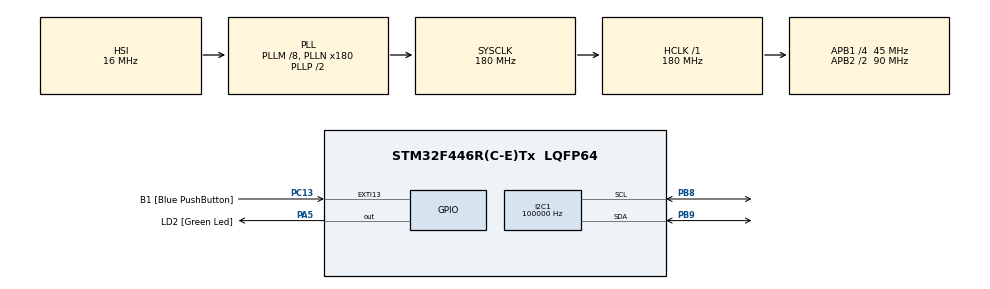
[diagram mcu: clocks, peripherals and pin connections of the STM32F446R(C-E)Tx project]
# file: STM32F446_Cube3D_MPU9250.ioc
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I2C1.ClockSpeed=100000
Mcu.Family=STM32F4
Mcu.Name=STM32F446R(C-E)Tx
Mcu.Package=LQFP64
NVIC.PriorityGroup=NVIC_PRIORITYGROUP_0
PA13.GPIO_Label=TMS
PA13.Mode=Serial_Wire
PA13.Signal=SYS_JTMS-SWDIO
PA14.GPIO_Label=TCK
PA14.Mode=Serial_Wire
PA14.Signal=SYS_JTCK-SWCLK
PA2.GPIO_Label=USART_TX
PA2.Signal=USART2_TX
PA3.GPIO_Label=USART_RX
PA3.Signal=USART2_RX
PA5.GPIO_Label=LD2 [Green Led]
PA5.Signal=GPIO_Output
PB3.GPIO_Label=SWO
PB3.Signal=SYS_JTDO-SWO
PB8.Mode=I2C
PB8.Signal=I2C1_SCL
PB9.Mode=I2C
PB9.Signal=I2C1_SDA
PC13.GPIO_Label=B1 [Blue PushButton]
PC13.GPIO_ModeDefaultEXTI=GPIO_MODE_EVT_RISING
PC13.Signal=GPXTI13
PC14-OSC32_IN.Signal=RCC_OSC32_IN
PC15-OSC32_OUT.Signal=RCC_OSC32_OUT
PH0-OSC_IN.Signal=RCC_OSC_IN
PH1-OSC_OUT.Signal=RCC_OSC_OUT
ProjectManager.HeapSize=0x200
ProjectManager.StackSize=0x400
ProjectManager.TargetToolchain=SW4STM32
RCC.AHBFreq_Value=180000000
RCC.APB1CLKDivider=RCC_HCLK_DIV4
RCC.APB1Freq_Value=45000000
RCC.APB1TimFreq_Value=90000000
RCC.APB2CLKDivider=RCC_HCLK_DIV2
RCC.APB2Freq_Value=90000000
RCC.APB2TimFreq_Value=180000000
RCC.CortexFreq_Value=180000000
RCC.FLatency-AdvancedSettings=FLASH_LATENCY_5
RCC.HCLKFreq_Value=180000000
RCC.HSE_VALUE=8000000
RCC.HSI_VALUE=16000000
RCC.LSE_VALUE=32768
RCC.PLLM=8
RCC.PLLN=180
RCC.SYSCLKFreq_VALUE=180000000
RCC.SYSCLKSource=RCC_SYSCLKSOURCE_PLLCLK
RCC.USBFreq_Value=180000000
RCC.VCOOutputFreq_Value=360000000
board=NUCLEO-F446RE

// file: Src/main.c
/**
  ******************************************************************************
  * File Name          : main.c
  * Description        : Main program body
  ******************************************************************************
  *
  * COPYRIGHT(c) 2016 STMicroelectronics
  *
  * Redistribution and use in source and binary forms, with or without modification,
  * are permitted provided that the following conditions are met:
  *   1. Redistributions of source code must retain the above copyright notice,
  *      this list of conditions and the following disclaimer.
  *   2. Redistributions in binary form must reproduce the above copyright notice,
  *      this list of conditions and the following disclaimer in the documentation
  *      and/or other materials provided with the distribution.
  *   3. Neither the name of STMicroelectronics nor the names of its contributors
  *      may be used to endorse or promote products derived from this software
  *      without specific prior written permission.
  *
  * THIS SOFTWARE IS PROVIDED BY THE COPYRIGHT HOLDERS AND CONTRIBUTORS "AS IS"
  * AND ANY EXPRESS OR IMPLIED WARRANTIES, INCLUDING, BUT NOT LIMITED TO, THE
  * IMPLIED WARRANTIES OF MERCHANTABILITY AND FITNESS FOR A PARTICULAR PURPOSE ARE
  * DISCLAIMED. IN NO EVENT SHALL THE COPYRIGHT HOLDER OR CONTRIBUTORS BE LIABLE
  * FOR ANY DIRECT, INDIRECT, INCIDENTAL, SPECIAL, EXEMPLARY, OR CONSEQUENTIAL
  * DAMAGES (INCLUDING, BUT NOT LIMITED TO, PROCUREMENT OF SUBSTITUTE GOODS OR
  * SERVICES; LOSS OF USE, DATA, OR PROFITS; OR BUSINESS INTERRUPTION) HOWEVER
  * CAUSED AND ON ANY THEORY OF LIABILITY, WHETHER IN CONTRACT, STRICT LIABILITY,
  * OR TORT (INCLUDING NEGLIGENCE OR OTHERWISE) ARISING IN ANY WAY OUT OF THE USE
  * OF THIS SOFTWARE, EVEN IF ADVISED OF THE POSSIBILITY OF SUCH DAMAGE.
  *
  ******************************************************************************
  */
#include "stm32f4xx_hal.h"
#include "i2c.h"
#include "gpio.h"

/* USER CODE BEGIN Includes */
#include "display\lcd.h"
#include "MPU9250.h"
#include "3driver.h"
#include "math.h"
#include "MadgwickAHRS.h"

/* USER CODE END Includes */

/* USER CODE BEGIN PV */
/* Private variables ---------------------------------------------------------*/

#define CUBE_WIDTH  140
#define CUBE_DEPTH  100
#define CUBE_HEIGTH 40

/* USER CODE END PV */

void SystemClock_Config(void);
void Error_Handler(void);

/* USER CODE BEGIN PFP */
/* Private function prototypes -----------------------------------------------*/

/* USER CODE END PFP */

int main(void)
{

  /* USER CODE BEGIN 1 */

	float ax, ay, az;
	float gx, gy, gz;
	float mx, my, mz;

	uint32_t last_time, current_time;

  /* USER CODE END 1 */

  /* MCU Configuration----------------------------------------------------------*/

  /* Reset of all peripherals, Initializes the Flash interface and the Systick. */
  HAL_Init();

  /* Configure the system clock */
  SystemClock_Config();

  /* Initialize all configured peripherals */
  MX_GPIO_Init();
  MX_I2C1_Init();

  /* USER CODE BEGIN 2 */
  LCD_Init();
  LCD_FillScreen(BLACK);
  LCD_SetTextSize(1);
  LCD_SetTextColor(GREEN, BLACK);

  I2Cdev_init(&hi2c1);

  Object3d__HandleTypeDef box;
  Object3d_InitBox(&box, CUBE_WIDTH, CUBE_DEPTH, CUBE_HEIGTH);

  LCD_Printf("Connecting to MPU9250...\n");
  //while(!MPU9250_testConnection());
  MPU9250_initialize();
  MPU9250_setFullScaleGyroRange(MPU9250_GYRO_FS_2000); // 2000 град/сек
  MPU9250_setFullScaleAccelRange(MPU9250_ACCEL_FS_2); // 2g
  LCD_Printf("Connection successful!\n\n");

  Madgwick_init();
  last_time = HAL_GetTick();

  /* USER CODE END 2 */

  /* Infinite loop */
  /* USER CODE BEGIN WHILE */

  while (1)
  {

	  MPU9250_getMotion9Real(&ax, &ay, &az, &gx, &gy, &gz, &mx, &my, &mz);

	  current_time = HAL_GetTick();
	  Madgwick_update(gx,gy,gz,ax,ay,az,mx,my,mz, (current_time - last_time)/1000.0);

	  last_time = current_time;

	  LCD_SetCursor(0,310);
      LCD_Printf("Madgwick: P: %5.1f R: %5.1f Y: %5.1f", Madgwick_getPitch(), Madgwick_getRoll(), Madgwick_getYaw());

      Object3d_CleanObject(&box);
      Object3d_SetRotation(&box, Madgwick_getPitchRadians(), Madgwick_getRollRadians(), Madgwick_getYawRadians());
      Object3d_DrawObject(&box);

      HAL_Delay(10);

  /* USER CODE END WHILE */

  }

}

/** System Clock Configuration
*/
void SystemClock_Config(void)
{

  RCC_OscInitTypeDef RCC_OscInitStruct;
  RCC_ClkInitTypeDef RCC_ClkInitStruct;

  __HAL_RCC_PWR_CLK_ENABLE();

  __HAL_PWR_VOLTAGESCALING_CONFIG(PWR_REGULATOR_VOLTAGE_SCALE1);

  RCC_OscInitStruct.OscillatorType = RCC_OSCILLATORTYPE_HSI;
  RCC_OscInitStruct.HSIState = RCC_HSI_ON;
  RCC_OscInitStruct.HSICalibrationValue = 16;
  RCC_OscInitStruct.PLL.PLLState = RCC_PLL_ON;
  RCC_OscInitStruct.PLL.PLLSource = RCC_PLLSOURCE_HSI;
  RCC_OscInitStruct.PLL.PLLM = 8;
  RCC_OscInitStruct.PLL.PLLN = 180;
  RCC_OscInitStruct.PLL.PLLP = RCC_PLLP_DIV2;
  RCC_OscInitStruct.PLL.PLLQ = 2;
  RCC_OscInitStruct.PLL.PLLR = 2;
  if (HAL_RCC_OscConfig(&RCC_OscInitStruct) != HAL_OK)
  {
    Error_Handler();
  }

  if (HAL_PWREx_EnableOverDrive() != HAL_OK)
  {
    Error_Handler();
  }

  RCC_ClkInitStruct.ClockType = RCC_CLOCKTYPE_HCLK|RCC_CLOCKTYPE_SYSCLK
                              |RCC_CLOCKTYPE_PCLK1|RCC_CLOCKTYPE_PCLK2;
  RCC_ClkInitStruct.SYSCLKSource = RCC_SYSCLKSOURCE_PLLCLK;
  RCC_ClkInitStruct.AHBCLKDivider = RCC_SYSCLK_DIV1;
  RCC_ClkInitStruct.APB1CLKDivider = RCC_HCLK_DIV4;
  RCC_ClkInitStruct.APB2CLKDivider = RCC_HCLK_DIV2;
  if (HAL_RCC_ClockConfig(&RCC_ClkInitStruct, FLASH_LATENCY_5) != HAL_OK)
  {
    Error_Handler();
  }

  HAL_SYSTICK_Config(HAL_RCC_GetHCLKFreq()/1000);

  HAL_SYSTICK_CLKSourceConfig(SYSTICK_CLKSOURCE_HCLK);

  /* SysTick_IRQn interrupt configuration */
  HAL_NVIC_SetPriority(SysTick_IRQn, 0, 0);
}

void Error_Handler(void)
{
  while(1)
  {
  }
}

/************************ (C) COPYRIGHT STMicroelectronics *****END OF FILE****/
